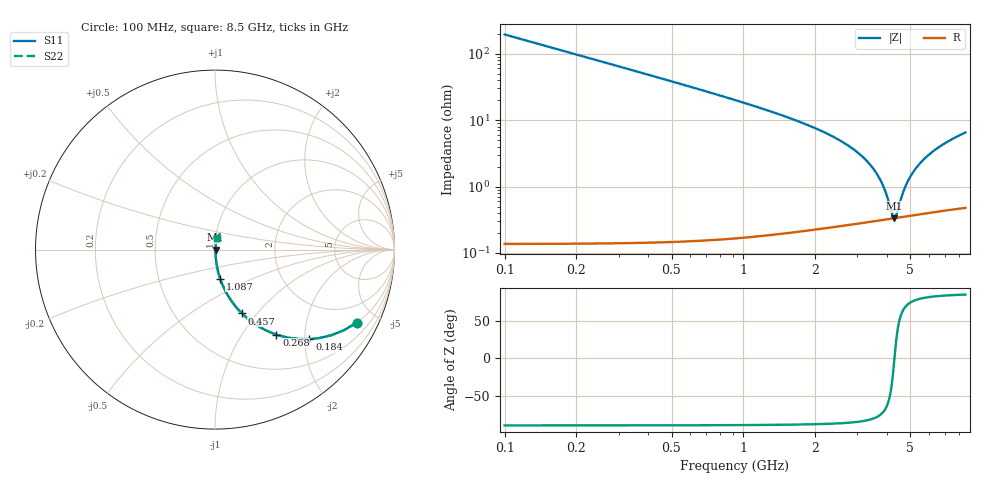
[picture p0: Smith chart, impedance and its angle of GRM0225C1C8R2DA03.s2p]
!Murata Part Number: GRM0225C1C8R2DA03
!These Parameters are Measured in Series Mode Connection
!Data Generated on Mar 30, 2021
!  o--ll--o
!Port1  Port2
!  o------o
!Operation Temp=25[degC], DC Bias Voltage=0[V]
!Freq. Start=100[MHz] Stop=9[GHz] 401[Steps]
# Hz S RI R 50
!Freq.(Hz) S11(Real) S11(Imag) S21(Real) S21(Imag) S12(Real) S12(Imag) S22(Real) S22(Imag)
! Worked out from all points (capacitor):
!   401 points, 100 MHz to 8.5 GHz, reference 50 ohm
!   read as one part in series: C = 8.2 pF near 142 MHz
!   lowest |Z| = 334 mohm at 4.279 GHz (marker M1)
!   series resonance near 4.289 GHz, so ESL is about 170 pH
!   S11 on the Smith chart (normalised r, x): 100 MHz: 1.00, -3.88; 184 MHz: 1.00, -2.11; 268 MHz: 1.00, -1.44; 457 MHz: 1.00, -0.84; 1.087 GHz: 1.00, -0.33; 8.5 GHz: 1.01, +0.13
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1e8  0.7899 -0.407  0.2101 0.407  0.2101 0.407  0.7899 -0.407
1.84e8  0.5257 -0.4987  0.4743 0.4987  0.4743 0.4987  0.5257 -0.4987
2.68e8  0.3425 -0.4736  0.6575 0.4736  0.6575 0.4736  0.3425 -0.4736
3.52e8  0.2312 -0.4203  0.7688 0.4203  0.7688 0.4203  0.2312 -0.4203
4.57e8  0.1506 -0.3559  0.8494 0.3559  0.8494 0.3559  0.1506 -0.3559
6.88e8  0.0713 -0.2545  0.9287 0.2545  0.9287 0.2545  0.0713 -0.2545
1.087e9  0.0286 -0.1615  0.9714 0.1615  0.9714 0.1615  0.0286 -0.1615
1.507e9  0.0144 -0.1105  0.9856 0.1105  0.9856 0.1105  0.0144 -0.1105
2.914e9  0.00395 -0.0352  0.996 0.0352  0.996 0.0352  0.00395 -0.0352
3.355e9  0.0034 -0.022  0.9966 0.022  0.9966 0.022  0.0034 -0.022
3.691e9  0.00325 -0.0134  0.9968 0.0134  0.9968 0.0134  0.00325 -0.0134
3.901e9  0.00323 -0.00841  0.9968 0.00841  0.9968 0.00841  0.00323 -0.00841
4.195e9  0.00329 -0.00197  0.9967 0.00197  0.9967 0.00197  0.00329 -0.00197
4.279e9  0.00333 -0.000215  0.9967 0.000215  0.9967 0.000215  0.00333 -0.000215
4.3e9  0.00334 0.000217  0.9967 -0.000217  0.9967 -0.000217  0.00334 0.000217
4.384e9  0.00337 0.00193  0.9966 -0.00193  0.9966 -0.00193  0.00337 0.00193
4.657e9  0.00354 0.00726  0.9965 -0.00726  0.9965 -0.00726  0.00354 0.00726
4.888e9  0.00371 0.0115  0.9963 -0.0115  0.9963 -0.0115  0.00371 0.0115
5.245e9  0.00404 0.0178  0.996 -0.0178  0.996 -0.0178  0.00404 0.0178
5.707e9  0.00454 0.0254  0.9955 -0.0254  0.9955 -0.0254  0.00454 0.0254
7.114e9  0.00649 0.046  0.9935 -0.046  0.9935 -0.046  0.00649 0.046
8.5e9  0.00887 0.0639  0.9911 -0.0639  0.9911 -0.0639  0.00887 0.0639
